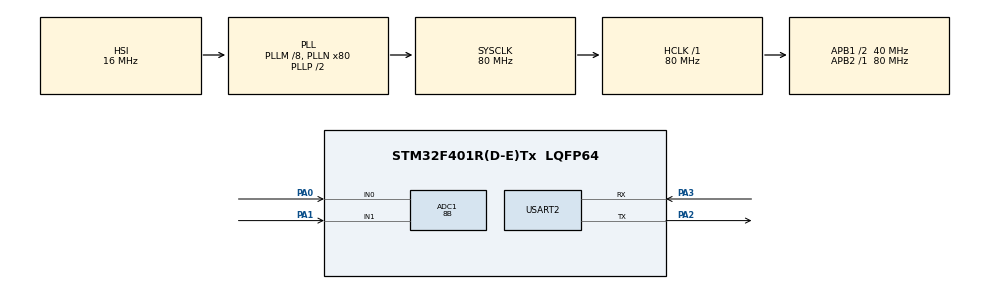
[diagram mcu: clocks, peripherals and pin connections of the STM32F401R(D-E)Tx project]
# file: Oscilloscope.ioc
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ADC1.Channel-0\#ChannelRegularConversion=ADC_CHANNEL_0
ADC1.Channel-1\#ChannelRegularConversion=ADC_CHANNEL_1
ADC1.DMAContinuousRequests=ENABLE
ADC1.EOCSelection=ADC_EOC_SEQ_CONV
ADC1.EnableAnalogWatchDog=true
ADC1.ExternalTrigConv=ADC_EXTERNALTRIGCONV_T2_TRGO
ADC1.HighThreshold=127
ADC1.ITMode=ENABLE
ADC1.NbrOfConversion=2
ADC1.NbrOfConversionFlag=1
ADC1.Rank-0\#ChannelRegularConversion=1
ADC1.Rank-1\#ChannelRegularConversion=2
ADC1.Resolution=ADC_RESOLUTION_8B
ADC1.SamplingTime-0\#ChannelRegularConversion=ADC_SAMPLETIME_3CYCLES
ADC1.SamplingTime-1\#ChannelRegularConversion=ADC_SAMPLETIME_3CYCLES
ADC1.ScanConvMode=ENABLE
ADC1.master=1
Dma.ADC1.0.Direction=DMA_PERIPH_TO_MEMORY
Dma.ADC1.0.FIFOMode=DMA_FIFOMODE_DISABLE
Dma.ADC1.0.Instance=DMA2_Stream0
Dma.ADC1.0.MemDataAlignment=DMA_MDATAALIGN_WORD
Dma.ADC1.0.MemInc=DMA_MINC_ENABLE
Dma.ADC1.0.Mode=DMA_CIRCULAR
Dma.ADC1.0.PeriphDataAlignment=DMA_PDATAALIGN_WORD
Dma.ADC1.0.PeriphInc=DMA_PINC_DISABLE
Dma.ADC1.0.Priority=DMA_PRIORITY_LOW
Dma.Request0=ADC1
Mcu.Family=STM32F4
Mcu.Name=STM32F401R(D-E)Tx
Mcu.Package=LQFP64
NVIC.ADC_IRQn=true\:1\:0\:true\:false\:true\:true\:true
NVIC.DMA2_Stream0_IRQn=true\:0\:0\:false\:false\:true\:false\:true
NVIC.PriorityGroup=NVIC_PRIORITYGROUP_4
NVIC.TIM2_IRQn=true\:2\:0\:true\:false\:true\:true\:true
NVIC.USART2_IRQn=true\:0\:0\:false\:false\:true\:true\:true
PA0-WKUP.Signal=ADCx_IN0
PA1.Signal=ADCx_IN1
PA2.Mode=Asynchronous
PA2.Signal=USART2_TX
PA3.Mode=Asynchronous
PA3.Signal=USART2_RX
ProjectManager.HeapSize=0x200
ProjectManager.StackSize=0x400
ProjectManager.TargetToolchain=STM32CubeIDE
RCC.48MHZClocksFreq_Value=40000000
RCC.AHBFreq_Value=80000000
RCC.APB1CLKDivider=RCC_HCLK_DIV2
RCC.APB1Freq_Value=40000000
RCC.APB1TimFreq_Value=80000000
RCC.APB2Freq_Value=80000000
RCC.APB2TimFreq_Value=80000000
RCC.CortexFreq_Value=80000000
RCC.HCLKFreq_Value=80000000
RCC.HSE_VALUE=25000000
RCC.HSI_VALUE=16000000
RCC.LSE_VALUE=32768
RCC.PLLM=8
RCC.PLLN=80
RCC.SYSCLKFreq_VALUE=80000000
RCC.SYSCLKSource=RCC_SYSCLKSOURCE_PLLCLK
RCC.VCOOutputFreq_Value=160000000
SH.ADCx_IN0.0=ADC1_IN0,IN0
SH.ADCx_IN1.0=ADC1_IN1,IN1
TIM2.Channel-Output\ Compare1\ No\ Output=TIM_CHANNEL_1
TIM2.Period=7999999
TIM2.Prescaler=0
TIM2.TIM_MasterOutputTrigger=TIM_TRGO_UPDATE
USART2.OverSampling=UART_OVERSAMPLING_8
USART2.VirtualMode=VM_ASYNC
VP_TIM2_VS_ClockSourceINT.Mode=Internal
VP_TIM2_VS_no_output1.Mode=Output Compare1 No Output
board=custom

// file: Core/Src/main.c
/* USER CODE BEGIN Header */
/**
  ******************************************************************************
  * @file           : main.c
  * @brief          : Main program body
  ******************************************************************************
  * @attention
  *
  * <h2><center>&copy; Copyright (c) 2020 STMicroelectronics.
  * All rights reserved.</center></h2>
  *
  * This software component is licensed by ST under BSD 3-Clause license,
  * the "License"; You may not use this file except in compliance with the
  * License. You may obtain a copy of the License at:
  *                        opensource.org/licenses/BSD-3-Clause
  *
  ******************************************************************************
  */
/* USER CODE END Header */
#include "main.h"

/* USER CODE BEGIN Includes */
#include "commandManagement.h"
#include "utilities.h"
/* USER CODE END Includes */

ADC_HandleTypeDef hadc1;
DMA_HandleTypeDef hdma_adc1;

TIM_HandleTypeDef htim2;

UART_HandleTypeDef huart2;

/* USER CODE BEGIN PV */
//dichiaro la variabile in cui salvare i campioni dal dma
uint32_t samples[2];
char receivedChar;
char receivedCommand[12] = {'\0','\0','\0','\0','\0','\0','\0','\0','\0','\0','\0','\0'};
uint8_t commandLength;
/* USER CODE END PV */

void SystemClock_Config(void);
static void MX_GPIO_Init(void);
static void MX_DMA_Init(void);
static void MX_ADC1_Init(void);
static void MX_TIM2_Init(void);
static void MX_USART2_UART_Init(void);

int main(void)
{

  /* MCU Configuration--------------------------------------------------------*/

  /* Reset of all peripherals, Initializes the Flash interface and the Systick. */
  HAL_Init();

  /* Configure the system clock */
  SystemClock_Config();

  /* Initialize all configured peripherals */
  MX_GPIO_Init();
  MX_DMA_Init();
  MX_ADC1_Init();
  MX_TIM2_Init();
  MX_USART2_UART_Init();
  /* USER CODE BEGIN 2 */

  triggerMode = 3;
	HAL_UART_Receive_IT(&huart2,(uint8_t*)&receivedChar, 1);
  /* USER CODE END 2 */

  /* Infinite loop */
  while (1)
  {

  }
}

void SystemClock_Config(void)
{
  RCC_OscInitTypeDef RCC_OscInitStruct = {0};
  RCC_ClkInitTypeDef RCC_ClkInitStruct = {0};

  /** Configure the main internal regulator output voltage
  */
  __HAL_RCC_PWR_CLK_ENABLE();
  __HAL_PWR_VOLTAGESCALING_CONFIG(PWR_REGULATOR_VOLTAGE_SCALE2);
  /** Initializes the RCC Oscillators according to the specified parameters
  * in the RCC_OscInitTypeDef structure.
  */
  RCC_OscInitStruct.OscillatorType = RCC_OSCILLATORTYPE_HSI;
  RCC_OscInitStruct.HSIState = RCC_HSI_ON;
  RCC_OscInitStruct.HSICalibrationValue = RCC_HSICALIBRATION_DEFAULT;
  RCC_OscInitStruct.PLL.PLLState = RCC_PLL_ON;
  RCC_OscInitStruct.PLL.PLLSource = RCC_PLLSOURCE_HSI;
  RCC_OscInitStruct.PLL.PLLM = 8;
  RCC_OscInitStruct.PLL.PLLN = 80;
  RCC_OscInitStruct.PLL.PLLP = RCC_PLLP_DIV2;
  RCC_OscInitStruct.PLL.PLLQ = 4;
  if (HAL_RCC_OscConfig(&RCC_OscInitStruct) != HAL_OK)
  {
    Error_Handler();
  }
  /** Initializes the CPU, AHB and APB buses clocks
  */
  RCC_ClkInitStruct.ClockType = RCC_CLOCKTYPE_HCLK|RCC_CLOCKTYPE_SYSCLK
                              |RCC_CLOCKTYPE_PCLK1|RCC_CLOCKTYPE_PCLK2;
  RCC_ClkInitStruct.SYSCLKSource = RCC_SYSCLKSOURCE_PLLCLK;
  RCC_ClkInitStruct.AHBCLKDivider = RCC_SYSCLK_DIV1;
  RCC_ClkInitStruct.APB1CLKDivider = RCC_HCLK_DIV2;
  RCC_ClkInitStruct.APB2CLKDivider = RCC_HCLK_DIV1;

  if (HAL_RCC_ClockConfig(&RCC_ClkInitStruct, FLASH_LATENCY_2) != HAL_OK)
  {
    Error_Handler();
  }
}

static void MX_ADC1_Init(void)
{

  ADC_AnalogWDGConfTypeDef AnalogWDGConfig = {0};
  ADC_ChannelConfTypeDef sConfig = {0};

  /** Configure the global features of the ADC (Clock, Resolution, Data Alignment and number of conversion)
  */
  hadc1.Instance = ADC1;
  hadc1.Init.ClockPrescaler = ADC_CLOCK_SYNC_PCLK_DIV4;
  hadc1.Init.Resolution = ADC_RESOLUTION_8B;
  hadc1.Init.ScanConvMode = ENABLE;
  hadc1.Init.ContinuousConvMode = DISABLE;
  hadc1.Init.DiscontinuousConvMode = DISABLE;
  hadc1.Init.ExternalTrigConvEdge = ADC_EXTERNALTRIGCONVEDGE_RISING;
  hadc1.Init.ExternalTrigConv = ADC_EXTERNALTRIGCONV_T2_TRGO;
  hadc1.Init.DataAlign = ADC_DATAALIGN_RIGHT;
  hadc1.Init.NbrOfConversion = 2;
  hadc1.Init.DMAContinuousRequests = ENABLE;
  hadc1.Init.EOCSelection = ADC_EOC_SEQ_CONV;
  if (HAL_ADC_Init(&hadc1) != HAL_OK)
  {
    Error_Handler();
  }
  /** Configure the analog watchdog
  */
  AnalogWDGConfig.WatchdogMode = ADC_ANALOGWATCHDOG_SINGLE_REG;
  AnalogWDGConfig.HighThreshold = 127;
  AnalogWDGConfig.LowThreshold = 0;
  AnalogWDGConfig.Channel = ADC_CHANNEL_0;
  AnalogWDGConfig.ITMode = ENABLE;
  if (HAL_ADC_AnalogWDGConfig(&hadc1, &AnalogWDGConfig) != HAL_OK)
  {
    Error_Handler();
  }
  /** Configure for the selected ADC regular channel its corresponding rank in the sequencer and its sample time.
  */
  sConfig.Channel = ADC_CHANNEL_0;
  sConfig.Rank = 1;
  sConfig.SamplingTime = ADC_SAMPLETIME_3CYCLES;
  if (HAL_ADC_ConfigChannel(&hadc1, &sConfig) != HAL_OK)
  {
    Error_Handler();
  }
  /** Configure for the selected ADC regular channel its corresponding rank in the sequencer and its sample time.
  */
  sConfig.Channel = ADC_CHANNEL_1;
  sConfig.Rank = 2;
  if (HAL_ADC_ConfigChannel(&hadc1, &sConfig) != HAL_OK)
  {
    Error_Handler();
  }

}

static void MX_TIM2_Init(void)
{

  TIM_ClockConfigTypeDef sClockSourceConfig = {0};
  TIM_MasterConfigTypeDef sMasterConfig = {0};
  TIM_OC_InitTypeDef sConfigOC = {0};

  htim2.Instance = TIM2;
  htim2.Init.Prescaler = 0;
  htim2.Init.CounterMode = TIM_COUNTERMODE_UP;
  htim2.Init.Period = 7999999;
  htim2.Init.ClockDivision = TIM_CLOCKDIVISION_DIV1;
  htim2.Init.AutoReloadPreload = TIM_AUTORELOAD_PRELOAD_DISABLE;
  if (HAL_TIM_Base_Init(&htim2) != HAL_OK)
  {
    Error_Handler();
  }
  sClockSourceConfig.ClockSource = TIM_CLOCKSOURCE_INTERNAL;
  if (HAL_TIM_ConfigClockSource(&htim2, &sClockSourceConfig) != HAL_OK)
  {
    Error_Handler();
  }
  if (HAL_TIM_OC_Init(&htim2) != HAL_OK)
  {
    Error_Handler();
  }
  sMasterConfig.MasterOutputTrigger = TIM_TRGO_UPDATE;
  sMasterConfig.MasterSlaveMode = TIM_MASTERSLAVEMODE_DISABLE;
  if (HAL_TIMEx_MasterConfigSynchronization(&htim2, &sMasterConfig) != HAL_OK)
  {
    Error_Handler();
  }
  sConfigOC.OCMode = TIM_OCMODE_TIMING;
  sConfigOC.Pulse = 0;
  sConfigOC.OCPolarity = TIM_OCPOLARITY_HIGH;
  sConfigOC.OCFastMode = TIM_OCFAST_DISABLE;
  if (HAL_TIM_OC_ConfigChannel(&htim2, &sConfigOC, TIM_CHANNEL_1) != HAL_OK)
  {
    Error_Handler();
  }

}

static void MX_USART2_UART_Init(void)
{

  huart2.Instance = USART2;
  huart2.Init.BaudRate = 115200;
  huart2.Init.WordLength = UART_WORDLENGTH_8B;
  huart2.Init.StopBits = UART_STOPBITS_1;
  huart2.Init.Parity = UART_PARITY_NONE;
  huart2.Init.Mode = UART_MODE_TX_RX;
  huart2.Init.HwFlowCtl = UART_HWCONTROL_NONE;
  huart2.Init.OverSampling = UART_OVERSAMPLING_8;
  if (HAL_UART_Init(&huart2) != HAL_OK)
  {
    Error_Handler();
  }

}

static void MX_DMA_Init(void)
{

  /* DMA controller clock enable */
  __HAL_RCC_DMA2_CLK_ENABLE();

  /* DMA interrupt init */
  /* DMA2_Stream0_IRQn interrupt configuration */
  HAL_NVIC_SetPriority(DMA2_Stream0_IRQn, 0, 0);
  HAL_NVIC_EnableIRQ(DMA2_Stream0_IRQn);

}

static void MX_GPIO_Init(void)
{

  /* GPIO Ports Clock Enable */
  __HAL_RCC_GPIOA_CLK_ENABLE();

}

/* USER CODE BEGIN 4 */
void HAL_UART_RxCpltCallback (UART_HandleTypeDef *huart){

	//HAL_UART_Transmit_IT(&huart2,(uint8_t*)&receivedChar,1);
	//se ricevo il prompt * resetto il comando ricevuto
	if (receivedChar == '*'){

		resetCommand(receivedCommand, commandLength);
		commandLength = 0;
	}
	//inserisco questo controllo per evitare segmentation fault
	//nel caso venga scritto un comando piu' lungo del dovuto
	if (commandLength < 12) {
		//aggiungo il carattere ricevuto alla stringa di comando
		receivedCommand[commandLength] = receivedChar;
		commandLength ++;
	}
	if (receivedChar == '#'){

		analyzeCommand(receivedCommand, commandLength);
		resetCommand(receivedCommand, commandLength);
		commandLength = 0;
	}
	HAL_UART_Receive_IT(&huart2,(uint8_t*)&receivedChar, 1);//cambiato

}

void HAL_TIM_OC_DelayElapsedCallback(TIM_HandleTypeDef *htim){

	if (triggerFound == 0){

		buffer[255][0] = samples[0];
		buffer[255][1] = samples[1];

		bufferShift();

		if (triggerMode == 0){

			if (sampleIndex == 256){

				triggerFound = 1;

			}
			sampleIndex ++;

		}

	} else {

		buffer[sampleIndex][0] = samples[0];
		buffer[sampleIndex][1] = samples[1];

		sampleIndex ++;
	}

	if (sampleIndex == 512){

		samplesTransmission();

	}
}

void HAL_ADC_LevelOutOfWindowCallback(ADC_HandleTypeDef *hadc){

		triggerFound = 1;

		if (triggerMode == 0){

			sampleIndex = 256;
		}

		//disabilito l'analog watchdog
	  ADC_AnalogWDGConfTypeDef AnalogWDGConfig = {0};
	  if (HAL_ADC_AnalogWDGConfig(&hadc1, &AnalogWDGConfig) != HAL_OK)
	  	  {
	  	    Error_Handler();
	  	  }
}

/* USER CODE END 4 */

void Error_Handler(void)
{
}

/************************ (C) COPYRIGHT STMicroelectronics *****END OF FILE****/
